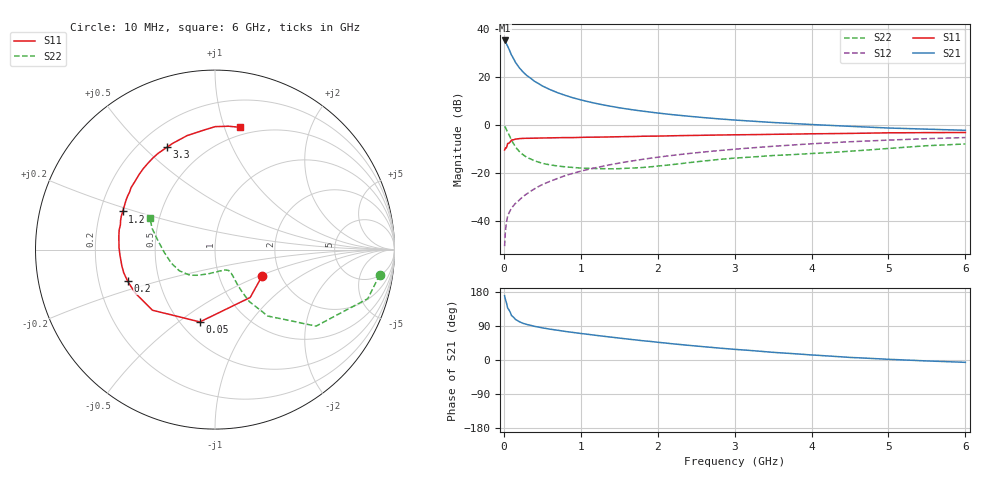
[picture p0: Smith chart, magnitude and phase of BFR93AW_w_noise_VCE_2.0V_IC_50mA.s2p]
! Infineon Technologies  Discrete & RF Semiconductors
! BFR93AW
! VCE =  2.0 V,  IC =  50 mA
! Common Emitter S-Parameters:  Jan 2017
# GHz  S  MA  R  50
!  f  S11  S21  S12  S22
! GHz  MAG  ANG  MAG  ANG  MAG  ANG  MAG  ANG
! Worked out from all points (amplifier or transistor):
!   77 points, 10 MHz to 6 GHz, reference 50 ohm
!   highest |S21| = 35.1 dB at 10 MHz (marker M1)
!   |S21| within 3 dB of that: start of sweep to 58.24 MHz
!   unconditionally stable (mu >= 1): 357.2 MHz to 2.316 GHz
!   at 130 MHz: K = 0.70, MSG = 30.4 dB, |S12| = -33.4 dB
!   at 2.2 GHz: K = 1.01, MAG = 7.9 dB, |S12| = -12.6 dB
!   at 6 GHz: K = 0.94, MSG = 1.5 dB, |S12| = -5.3 dB
!   lowest NFmin = 2.30 dB at 450 MHz
!   S11 on the Smith chart (normalised r, x): 10 MHz: 1.62, -0.51; 50 MHz: 0.62, -0.60; 200 MHz: 0.33, -0.16; 1.2 GHz: 0.30, +0.18; 3.3 GHz: 0.31, +0.59; 6 GHz: 0.43, +1.13
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0.01  0.3008 -28.7  57.15 169.6  0.003 79.4  0.9283 -8.7
0.02  0.3311 -53.7  55.37 160.0  0.006 76.5  0.8943 -17.8
0.05  0.4116 -101.8  43.19 137.1  0.0128 62.5  0.7065 -37.1
0.1  0.4852 -135.9  28.23 117.1  0.0185 60.9  0.4731 -51.5
0.15  0.5062 -151.4  20.17 107.3  0.0232 60.8  0.3488 -56.5
0.2  0.5174 -160.0  15.53 101.2  0.0272 63.0  0.2812 -57.4
0.25  0.5247 -165.8  12.63 96.8  0.0325 64.9  0.2394 -57.3
0.3  0.5268 -170.2  10.6 93.7  0.0369 67.0  0.2111 -56.9
0.4  0.5301 -176.3  8.055 88.7  0.0469 69.6  0.1783 -55.9
0.5  0.5348 178.8  6.474 84.8  0.0573 70.8  0.1589 -55.5
0.6  0.5376 174.8  5.433 81.4  0.0671 71.5  0.1473 -56.1
0.7  0.5414 171.6  4.672 78.5  0.077 72.4  0.1397 -56.8
0.9  0.5447 165.4  3.659 72.7  0.0985 71.6  0.1303 -61.2
1.1  0.5547 160.0  3.033 67.6  0.1192 70.8  0.1251 -66.8
1.2  0.5563 157.5  2.792 65.0  0.1293 70.2  0.1235 -70.1
1.6  0.5712 148.3  2.148 55.5  0.1714 67.3  0.1253 -86.8
2.1  0.5896 137.6  1.697 44.8  0.2228 62.4  0.1442 -109.2
3.1  0.6247 118.7  1.233 26.7  0.3214 51.7  0.2084 -139.6
3.3  0.6298 115.2  1.176 23.6  0.3401 49.5  0.2189 -144.6
4.1  0.6555 102.2  1.001 12.1  0.4128 40.5  0.2588 -165.7
5.1  0.6857 88.7  0.852 1.0  0.4898 29.0  0.3323 168.5
6  0.6953 78.6  0.772 -6.2  0.5457 18.9  0.4016 154.3
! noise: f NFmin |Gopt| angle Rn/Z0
0.45  2.3  0.26  -178  0.17
0.9  2.59  0.31  -167  0.18
1.9  3.72  0.53  -132  0.42
2.4  4.45  0.58  -122  0.79
